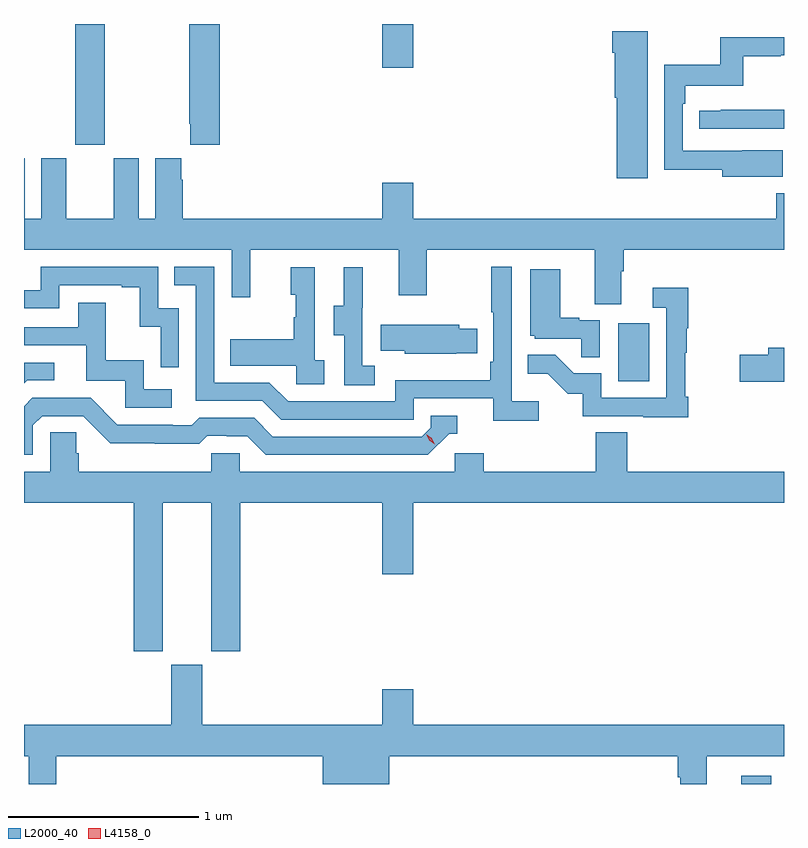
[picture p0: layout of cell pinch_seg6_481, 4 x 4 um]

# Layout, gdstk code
import gdstk
lib = gdstk.Library(unit=1e-6, precision=1e-09)
def R(c, l, rs):  # rectangles x0, y0, x1, y1
    for r in rs: c.add(gdstk.rectangle(r[:2], r[2:], *l))
def P(c, l, *ps):  # polygons
    for p in ps: c.add(gdstk.Polygon(p, *l))
L2000_40 = (2000, 40)
L4158_0 = (4158, 0)

pinch_seg6_481 = lib.new_cell('pinch_seg6_481')
R(pinch_seg6_481, L2000_40, [(850.214,923.213,850.372,923.257), (849.566,925.332,849.73,925.639), (846.709,926.577,846.864,927.213), (848.324,926.982,848.488,927.213)])
P(pinch_seg6_481, L2000_40, [(847.469,927.213),(847.309,927.213),(847.309,926.689),(847.313,926.689),(847.313,926.577),(847.469,926.577)],
  [(849.721,927.175),(849.536,927.175),(849.536,927.062),(849.548,927.062),(849.548,926.826),(849.56,926.826),(849.56,926.4),(849.721,926.4)],
  [(850.433,926.548),(850.219,926.548),(850.219,926.547),(849.906,926.547),(849.906,926.792),(849.92,926.792),(849.92,926.888),(850.225,926.888),(850.225,927.043),(850.421,927.043),(850.421,927.048),(850.439,927.048),(850.439,927.144),(850.104,927.144),(850.104,926.998),(849.81,926.998),(849.81,926.446),(850.115,926.446),(850.115,926.408),(850.433,926.408)],
  [(850.439,926.762),(850.105,926.762),(850.105,926.757),(849.993,926.757),(849.993,926.661),(850.439,926.661)],
  [(849.583,925.912),(849.596,925.912),(849.596,926.024),(850.439,926.024),(850.439,926.323),(850.397,926.323),(850.397,926.188),(848.488,926.188),(848.488,926.377),(848.324,926.377),(848.324,926.188),(847.274,926.188),(847.274,926.393),(847.267,926.393),(847.267,926.506),(847.13,926.506),(847.13,926.188),(847.042,926.188),(847.042,926.506),(846.911,926.506),(846.911,926.188),(846.661,926.188),(846.661,926.506),(846.53,926.506),(846.53,926.188),(846.442,926.188),(846.442,926.506),(846.439,926.506),(846.439,926.024),(847.533,926.024),(847.533,925.776),(847.631,925.776),(847.631,926.024),(848.411,926.024),(848.411,925.785),(848.559,925.785),(848.559,926.024),(849.443,926.024),(849.443,925.738),(849.583,925.738)],
  [(849.148,925.228),(849.006,925.228),(849.006,925.936),(848.898,925.936),(848.898,925.696),(848.91,925.696),(848.91,925.435),(848.893,925.435),(848.893,925.339),(848.394,925.339),(848.394,925.227),(847.83,925.227),(847.731,925.326),(847.44,925.326),(847.44,925.935),(847.231,925.935),(847.231,925.839),(847.344,925.839),(847.344,925.23),(847.694,925.23),(847.793,925.131),(848.49,925.131),(848.49,925.242),(848.909,925.242),(848.909,925.126),(849.148,925.126)],
  [(847.254,925.716),(847.146,925.716),(847.146,925.935),(846.528,925.935),(846.528,925.812),(846.439,925.812),(846.439,925.716),(846.624,925.716),(846.624,925.839),(846.953,925.839),(846.953,925.827),(847.049,925.827),(847.049,925.619),(847.158,925.619),(847.158,925.407),(847.254,925.407)],
  [(848.02,925.442),(847.968,925.442),(847.968,925.933),(847.844,925.933),(847.844,925.788),(847.87,925.788),(847.87,925.67),(847.86,925.67),(847.86,925.555),(847.525,925.555),(847.525,925.415),(847.872,925.415),(847.872,925.317),(848.02,925.317)],
  [(848.284,925.415),(848.22,925.415),(848.22,925.719),(848.222,925.719),(848.222,925.933),(848.123,925.933),(848.123,925.731),(848.069,925.731),(848.069,925.576),(848.124,925.576),(848.124,925.312),(848.284,925.312)],
  [(849.468,925.653),(849.362,925.653),(849.362,925.666),(849.262,925.666),(849.262,925.921),(849.104,925.921),(849.104,925.572),(849.126,925.572),(849.126,925.557),(849.373,925.557),(849.373,925.459),(849.468,925.459)],
  [(849.935,925.252),(849.92,925.252),(849.92,925.482),(849.928,925.482),(849.928,925.612),(849.935,925.612),(849.935,925.825),(849.747,925.825),(849.747,925.719),(849.819,925.719),(849.819,925.245),(849.477,925.245),(849.477,925.374),(849.333,925.374),(849.235,925.472),(849.091,925.472),(849.091,925.373),(849.195,925.373),(849.302,925.266),(849.379,925.266),(849.379,925.149),(849.697,925.149),(849.697,925.144),(849.935,925.144)],
  [(847.216,925.29),(847.068,925.29),(847.068,925.444),(846.869,925.444),(846.869,925.747),(846.725,925.747),(846.725,925.617),(846.439,925.617),(846.439,925.521),(846.767,925.521),(846.767,925.335),(846.972,925.335),(846.972,925.194),(847.216,925.194)],
  [(848.714,925.479),(848.825,925.479),(848.825,925.608),(848.731,925.608),(848.731,925.63),(848.317,925.63),(848.317,925.493),(848.442,925.493),(848.442,925.478),(848.714,925.478)],
  [(850.439,925.508),(850.355,925.508),(850.355,925.472),(850.206,925.472),(850.206,925.33),(850.439,925.33)],
  [(846.456,925.338),(846.598,925.338),(846.598,925.431),(846.439,925.431),(846.439,925.321)],
  [(846.486,925.101),(846.534,925.149),(846.75,925.149),(846.892,925.007),(847.128,925.007),(847.128,925.005),(847.361,925.005),(847.403,925.047),(847.506,925.047),(847.506,925.044),(847.613,925.044),(847.712,924.945),(848.565,924.945),(848.676,925.056),(848.719,925.056),(848.719,925.152),(848.58,925.152),(848.58,925.089),(848.532,925.041),(847.749,925.041),(847.65,925.14),(847.361,925.14),(847.322,925.101),(847.223,925.101),(847.223,925.104),(846.93,925.104),(846.789,925.245),(846.483,925.245),(846.439,925.201),(846.439,924.945),(846.486,924.945)],
  [(847.168,924.692),(847.424,924.692),(847.424,923.913),(847.577,923.913),(847.577,924.692),(848.324,924.692),(848.324,924.318),(848.488,924.318),(848.488,924.692),(850.439,924.692),(850.439,924.856),(849.614,924.856),(849.614,925.064),(849.449,925.064),(849.449,924.856),(848.858,924.856),(848.858,924.954),(848.706,924.954),(848.706,924.856),(847.575,924.856),(847.575,924.954),(847.425,924.954),(847.425,924.856),(846.728,924.856),(846.728,924.954),(846.713,924.954),(846.713,925.064),(846.576,925.064),(846.576,924.856),(846.439,924.856),(846.439,924.692),(847.016,924.692),(847.016,923.913),(847.168,923.913)],
  [(846.608,923.36),(848.012,923.36),(848.012,923.213),(848.362,923.213),(848.362,923.36),(849.881,923.36),(849.881,923.248),(849.893,923.248),(849.893,923.213),(850.033,923.213),(850.033,923.36),(850.439,923.36),(850.439,923.524),(848.488,923.524),(848.488,923.713),(848.324,923.713),(848.324,923.524),(847.378,923.524),(847.378,923.841),(847.214,923.841),(847.214,923.524),(846.439,923.524),(846.439,923.36),(846.464,923.36),(846.464,923.213),(846.608,923.213)])
P(pinch_seg6_481, L4158_0, [(848.601,925.002),(848.571,925.021),(848.555,925.054),(848.555,925.054),(848.555,925.054),(848.586,925.034),(848.602,925.002),(848.602,925.002)])

lib.write_gds('pinch_seg6_481.gds')
